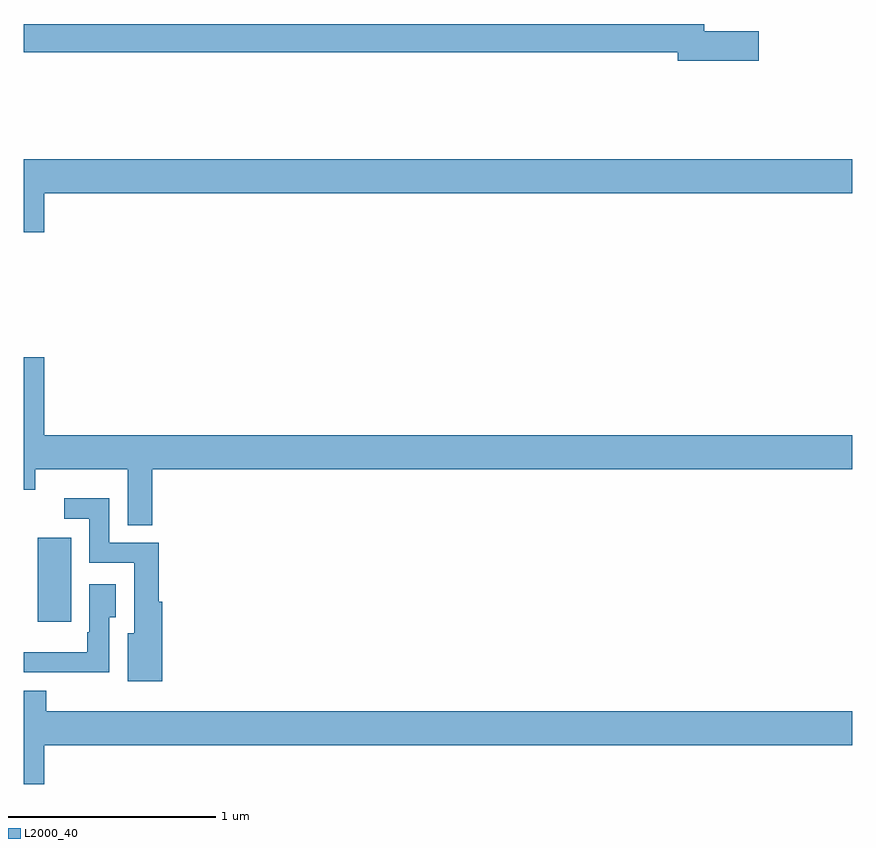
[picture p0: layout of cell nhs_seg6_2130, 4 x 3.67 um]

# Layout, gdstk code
import gdstk
lib = gdstk.Library(unit=1e-6, precision=1e-09)
def R(c, l, rs):  # rectangles x0, y0, x1, y1
    for r in rs: c.add(gdstk.rectangle(r[:2], r[2:], *l))
def P(c, l, *ps):  # polygons
    for p in ps: c.add(gdstk.Polygon(p, *l))
L2000_40 = (2000, 40)

nhs_seg6_2130 = lib.new_cell('nhs_seg6_2130')
R(nhs_seg6_2130, L2000_40, [(237.068,990.555,237.229,990.961)])
P(nhs_seg6_2130, L2000_40, [(240.547,993.404),(240.286,993.404),(240.286,993.44),(237,993.44),(237,993.304),(240.158,993.304),(240.158,993.262),(240.547,993.262)],
  [(237.1,992.624),(241,992.624),(241,992.788),(237,992.788),(237,992.436),(237.1,992.436)],
  [(237.622,991.292),(241,991.292),(241,991.456),(237.1,991.456),(237.1,991.831),(237,991.831),(237,991.193),(237.057,991.193),(237.057,991.292),(237.503,991.292),(237.503,991.021),(237.622,991.021)],
  [(237.668,990.651),(237.652,990.651),(237.652,990.936),(237.414,990.936),(237.414,991.15),(237.195,991.15),(237.195,991.053),(237.318,991.053),(237.318,990.84),(237.533,990.84),(237.533,990.499),(237.503,990.499),(237.503,990.267),(237.668,990.267)],
  [(237.414,990.577),(237.445,990.577),(237.445,990.736),(237.318,990.736),(237.318,990.505),(237.306,990.505),(237.306,990.409),(237.076,990.409),(237.076,990.408),(237,990.408),(237,990.312),(237.193,990.312),(237.193,990.311),(237.414,990.311)],
  [(237.1,989.96),(241,989.96),(241,990.124),(237.11,990.124),(237.11,990.223),(237,990.223),(237,989.772),(237.1,989.772)])

lib.write_gds('nhs_seg6_2130.gds')
